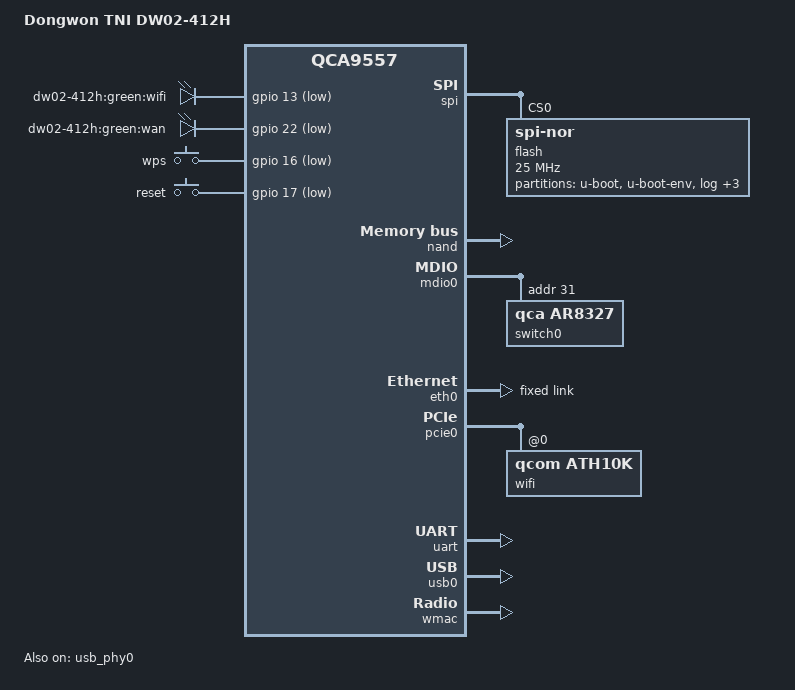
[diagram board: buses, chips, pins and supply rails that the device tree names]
// SPDX-License-Identifier: GPL-2.0-or-later OR MIT
/dts-v1/;

#include <dt-bindings/gpio/gpio.h>
#include <dt-bindings/input/input.h>

#include "qca9557.dtsi"

/ {
	compatible = "dongwon-tni,dw02-412h", "qca,qca9557";
	model = "Dongwon TNI DW02-412H";

	aliases {
		led-boot = &led_wan;
		led-failsafe = &led_wan;
		led-upgrade = &led_wan;
	};

	chosen {
		bootargs = "console=ttyS0,115200n8";
	};

	leds {
		compatible = "gpio-leds";

		wifi {
			label = "dw02-412h:green:wifi";
			gpios = <&gpio 13 GPIO_ACTIVE_LOW>;
			linux,default-trigger = "phy1tpt";
		};

		led_wan: wan {
			label = "dw02-412h:green:wan";
			gpios = <&gpio 22 GPIO_ACTIVE_LOW>;
		};
	};

	keys {
		compatible = "gpio-keys";

		wps {
			label = "wps";
			gpios = <&gpio 16 GPIO_ACTIVE_LOW>;
			linux,code = <KEY_WPS_BUTTON>;
			debounce-interval = <60>;
		};

		reset {
			label = "reset";
			gpios = <&gpio 17 GPIO_ACTIVE_LOW>;
			linux,code = <KEY_RESTART>;
			debounce-interval = <60>;
		};
	};
};

&spi {
	status = "okay";
	num-cs = <1>;

	flash@0 {
		compatible = "jedec,spi-nor";
		reg = <0>;
		spi-max-frequency = <25000000>;

		partitions {
			compatible = "fixed-partitions";
			#address-cells = <1>;
			#size-cells = <1>;

			partition@0 {
				label = "u-boot";
				reg = <0x0 0x40000>;
				read-only;
			};

			partition@40000 {
				label = "u-boot-env";
				reg = <0x40000 0x10000>;
				read-only;
			};

			partition@50000 {
				label = "log";
				reg = <0x50000 0x10000>;
				read-only;
			};

			partition@60000 {
				label = "recovery";
				reg = <0x60000 0x170000>;
				read-only;
			};

			partition@1d0000 {
				label = "nvram";
				reg = <0x1d0000 0x20000>;
				read-only;
			};

			art: partition@1f0000 {
				label = "art";
				reg = <0x1f0000 0x10000>;
				read-only;
			};
		};
	};
};

&nand {
	status = "okay";

	partitions {
		compatible = "fixed-partitions";
		#address-cells = <1>;
		#size-cells = <1>;

		partition@0 {
			label = "firmware";
			reg = <0x0 0x8000000>;

			compatible = "fixed-partitions";
			#address-cells = <1>;
			#size-cells = <1>;

			partition@0 {
				label = "kernel";
				reg = <0x0 0x400000>;
			};

			partition@400000 {
				label = "ubi";
				reg = <0x400000 0x7c00000>;
			};
		};
	};
};

&mdio0 {
	status = "okay";

	switch0@1f {
		compatible = "qca,ar8327";
		reg = <0x1f>;

		qca,ar8327-initvals = <
			0x04 0x07600000 /* PORT0 PAD MODE CTRL */
			0x7c 0x0000007e /* PORT0_STATUS */
		>;
	};
};

&eth0 {
	status = "okay";

	pll-data = <0xa6000000 0x00000101 0x00001616>;
	mtd-mac-address = <&art 0x6>;
	mtd-mac-address-increment = <1>;

	fixed-link {
		speed = <1000>;
		full-duplex;
	};
};

&pcie0 {
	status = "okay";

	wifi@0,0 {
		compatible = "qcom,ath10k";
		reg = <0x0000 0 0 0 0>;
	};
};

&uart {
	status = "okay";
};

&usb_phy0 {
	status = "okay";
};

&usb0 {
	#address-cells = <1>;
	#size-cells = <0>;
	status = "okay";

	hub_port: port@1 {
		reg = <1>;
		#trigger-source-cells = <0>;
	};
};

&wmac {
	status = "okay";

	mtd-cal-data = <&art 0x1000>;
	mtd-mac-address = <&art 0x0>;
	mtd-mac-address-increment = <3>;
};
